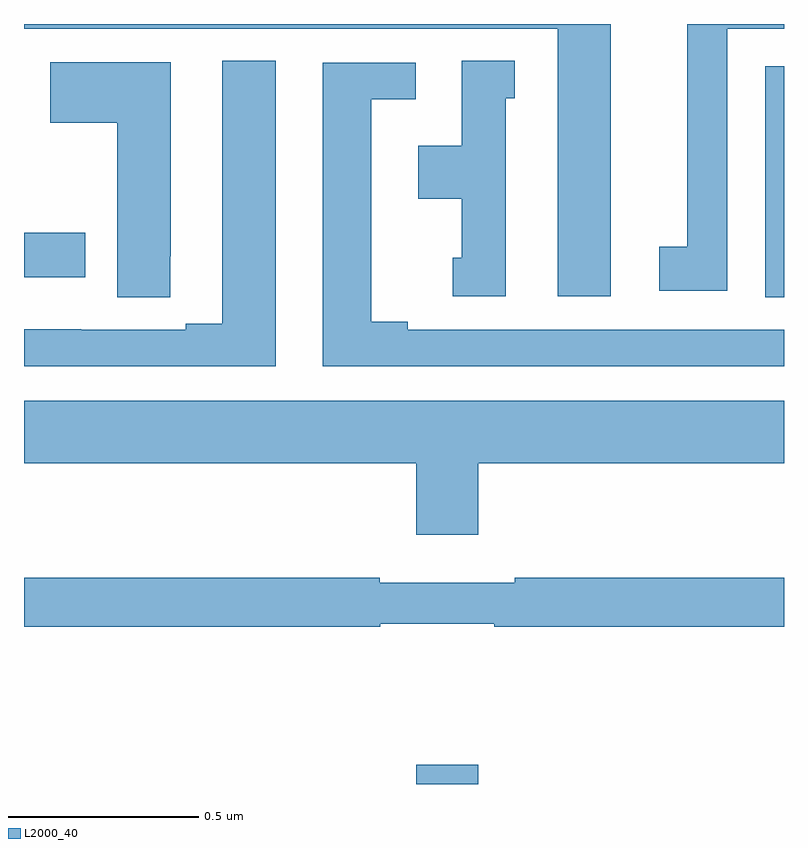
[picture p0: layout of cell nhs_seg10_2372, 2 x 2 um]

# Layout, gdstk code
import gdstk
lib = gdstk.Library(unit=1e-6, precision=1e-09)
def R(c, l, rs):  # rectangles x0, y0, x1, y1
    for r in rs: c.add(gdstk.rectangle(r[:2], r[2:], *l))
def P(c, l, *ps):  # polygons
    for p in ps: c.add(gdstk.Polygon(p, *l))
L2000_40 = (2000, 40)

nhs_seg10_2372 = lib.new_cell('nhs_seg10_2372')
R(nhs_seg10_2372, L2000_40, [(141.032,1271.5,141.196,1271.551), (141.95,1272.781,142,1273.389), (140,1272.834,140.161,1272.951)])
P(nhs_seg10_2372, L2000_40, [(141.544,1273.5),(140,1273.5),(140,1273.488),(141.404,1273.488),(141.404,1272.783),(141.544,1272.783)],
  [(141.85,1273.488),(142,1273.488),(142,1273.5),(141.746,1273.5),(141.746,1272.914),(141.672,1272.914),(141.672,1272.798),(141.85,1272.798)],
  [(140.662,1273.403),(140.522,1273.403),(140.522,1272.711),(140.426,1272.711),(140.426,1272.696),(140.15,1272.696),(140.15,1272.697),(140,1272.697),(140,1272.6),(140.662,1272.6)],
  [(141.268,1273.305),(141.292,1273.305),(141.292,1273.403),(141.152,1273.403),(141.152,1273.18),(141.038,1273.18),(141.038,1273.04),(141.152,1273.04),(141.152,1272.885),(141.128,1272.885),(141.128,1272.783),(141.268,1272.783)],
  [(140.385,1272.889),(140.386,1272.889),(140.386,1273.399),(140.069,1273.399),(140.069,1273.24),(140.246,1273.24),(140.246,1272.781),(140.385,1272.781)],
  [(142,1272.696),(141.01,1272.696),(141.01,1272.716),(140.914,1272.716),(140.914,1273.302),(141.031,1273.302),(141.031,1273.398),(140.786,1273.398),(140.786,1272.6),(142,1272.6)],
  [(141.196,1272.344),(142,1272.344),(142,1272.508),(140,1272.508),(140,1272.344),(141.032,1272.344),(141.032,1272.156),(141.196,1272.156)],
  [(140.938,1271.922),(141.238,1271.922),(141.238,1271.914),(142,1271.914),(142,1272.043),(141.292,1272.043),(141.292,1272.03),(140.936,1272.03),(140.936,1272.043),(140,1272.043),(140,1271.914),(140.938,1271.914)])

lib.write_gds('nhs_seg10_2372.gds')
